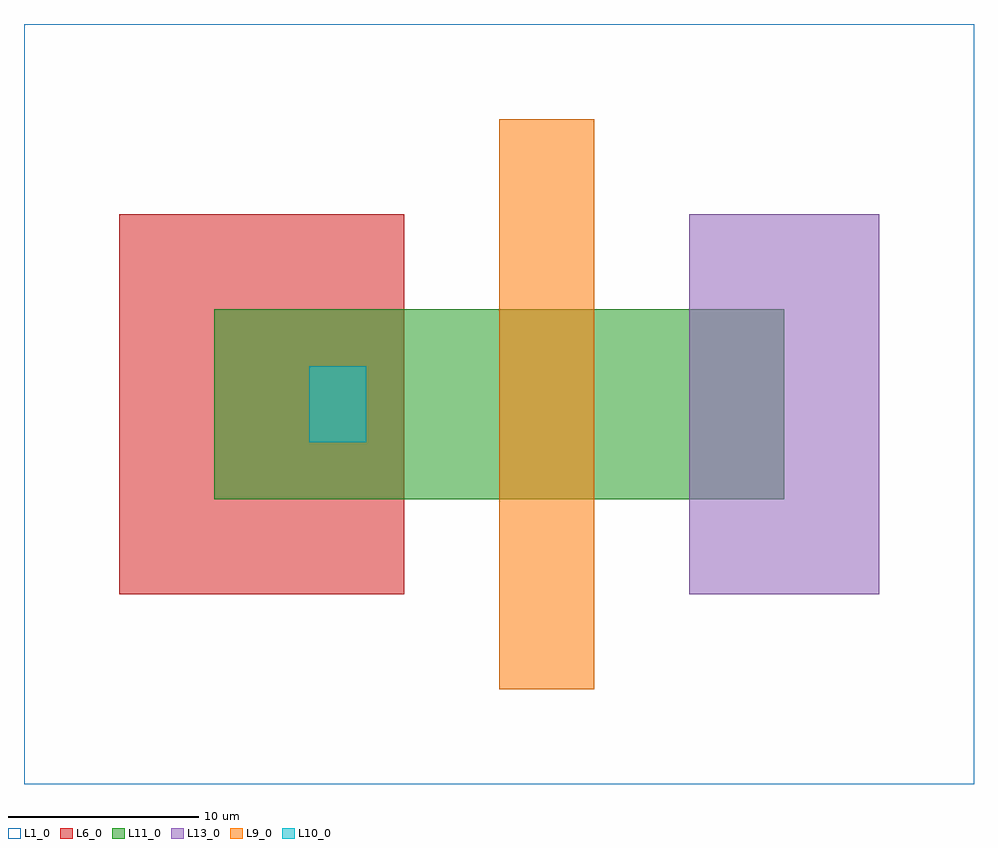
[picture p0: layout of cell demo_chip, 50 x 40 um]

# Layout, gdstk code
import gdstk
lib = gdstk.Library(unit=1e-6, precision=1e-09)
def R(c, l, rs):  # rectangles x0, y0, x1, y1
    for r in rs: c.add(gdstk.rectangle(r[:2], r[2:], *l))
L1_0 = (1, 0)
L6_0 = (6, 0)
L9_0 = (9, 0)
L10_0 = (10, 0)
L11_0 = (11, 0)
L13_0 = (13, 0)

demo_chip = lib.new_cell('demo_chip')
R(demo_chip, L1_0, [(0,0,50,40)])
R(demo_chip, L6_0, [(5,10,20,30)])
R(demo_chip, L9_0, [(25,5,30,35)])
R(demo_chip, L10_0, [(15,18,18,22)])
R(demo_chip, L11_0, [(10,15,40,25)])
R(demo_chip, L13_0, [(35,10,45,30)])

lib.write_gds('demo_chip.gds')
